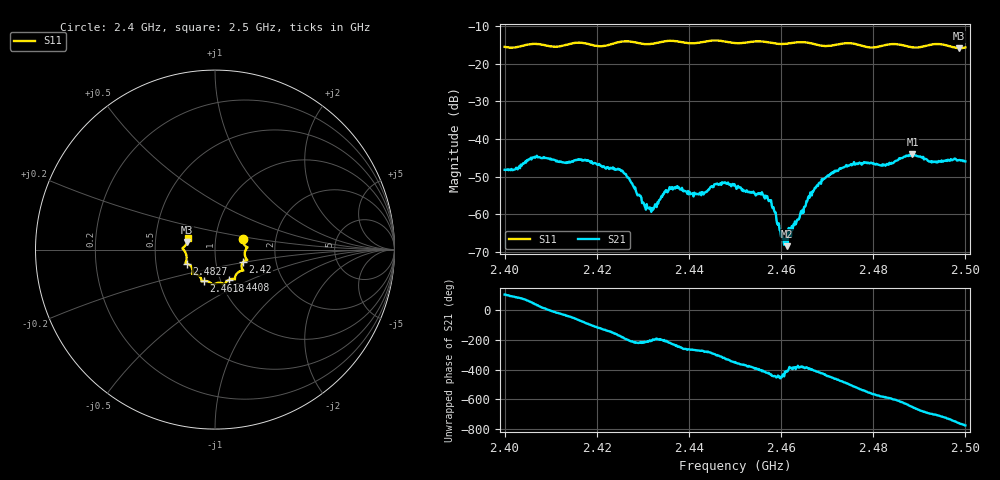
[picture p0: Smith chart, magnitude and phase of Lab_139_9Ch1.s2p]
# Hz S RI R 50
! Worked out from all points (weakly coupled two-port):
!   601 points, 2.4 GHz to 2.5 GHz, reference 50 ohm
!   highest |S21| = -44.10 dB at 2.4885 GHz (marker M1); lowest = -68.4 dB at 2.4613 GHz (marker M2)
!   lowest |S11| = -15.9 dB at 2.4987 GHz (marker M3), VSWR 1.38, Z = 36.5 + j3.23 ohm
!   |S11| at or under -10 dB: start of sweep to end of sweep
!   S12 and S22 are empty: the file has one direction only
!   S11 on the Smith chart (normalised r, x): 2.4 GHz: 1.35, +0.17; 2.42 GHz: 1.36, -0.19; 2.4408 GHz: 1.10, -0.38; 2.4618 GHz: 0.83, -0.30; 2.4827 GHz: 0.72, -0.12; 2.5 GHz: 0.73, +0.09
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2.4e9  0.1546 0.0612  -0.00112 0.00374  0 0  0 0
2.4065e9  0.1817 0.0129  0.00424 0.00395  0 0  0 0
2.416667e9  0.1789 -0.0586  0.00152 -0.00516  0 0  0 0
2.42e9  0.1564 -0.0692  -0.00189 -0.00423  0 0  0 0
2.425833e9  0.1578 -0.1164  -0.00355 0.00032  0 0  0 0
2.430833e9  0.1257 -0.1295  -0.00116 0.000738  0 0  0 0
2.433333e9  0.1116 -0.1531  -0.00135 0.000376  0 0  0 0
2.436333e9  0.111 -0.1662  -0.00158 0.00169  0 0  0 0
2.440833e9  0.0777 -0.1685  -0.000116 0.00192  0 0  0 0
2.446e9  0.0523 -0.1949  0.00143 0.00208  0 0  0 0
2.45e9  0.0269 -0.1848  0.00238 0.000472  0 0  0 0
2.457333e9  -0.0191 -0.1896  0.000702 -0.00133  0 0  0 0
2.460167e9  -0.0441 -0.1758  -2.01e-05 -0.000593  0 0  0 0
2.461333e9  -0.0568 -0.1745  0.000225 -0.000306  0 0  0 0
2.461833e9  -0.0615 -0.1749  0.000469 -0.000191  0 0  0 0
2.466667e9  -0.0757 -0.1681  0.00141 -0.00109  0 0  0 0
2.473667e9  -0.1253 -0.1362  -0.00253 -0.0034  0 0  0 0
2.482667e9  -0.1579 -0.0776  -0.00309 0.00317  0 0  0 0
2.483333e9  -0.1618 -0.0767  -0.00282 0.00359  0 0  0 0
2.4885e9  -0.1583 -0.0422  0.00248 0.00572  0 0  0 0
2.498667e9  -0.154 0.0431  0.0039 -0.00355  0 0  0 0
2.5e9  -0.1511 0.063  0.00269 -0.00427  0 0  0 0
